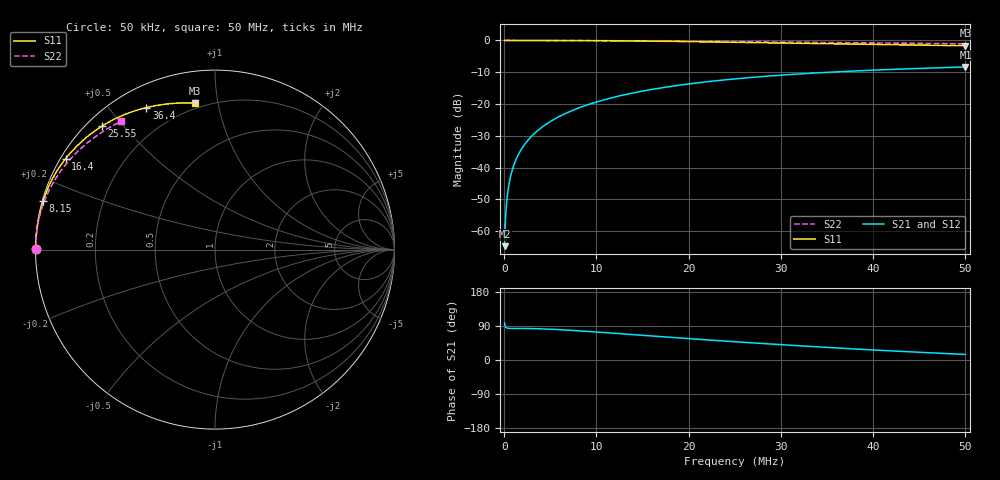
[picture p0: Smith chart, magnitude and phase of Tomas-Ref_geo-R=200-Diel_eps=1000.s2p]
! TOUCHSTONE file generated by CST MICROWAVE STUDIO
! Date and time: Thu Oct 06 06:59:52 2016
! Project name: tomas_icrh_linear_2016-plasma-Rdiel=200.cst
! Header version: 2015
! Port assignment regex: !\s*Touchstone port\s*([0-9]+)\s*=\s*CST MWS port\s*([0-9]+)\s*\(\"(.*)\"\)(\s*mode\s*([0-9]+))?.*
! Touchstone port assignment:
! Touchstone port 1 = CST MWS port 1 ("")
! Touchstone port 2 = CST MWS port 2 ("")
# MHZ S MA R 50
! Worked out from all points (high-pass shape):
!   1000 points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, 50 kHz to 50 MHz, reference 50 ohm
!   highest |S21| = -8.34 dB at 50 MHz (marker M1); lowest = -64.8 dB at 50 kHz (marker M2)
!   |S21| within 3 dB of the highest: 28.05 MHz to end of sweep
!   lowest |S11| = -1.7 dB at 50 MHz (marker M3), VSWR 10.36, Z = 8.42 + j42.8 ohm
!   |S11| at or under -10 dB: nowhere
!   |S22| runs from -1.1 to 0.0 dB; largest |S21 - S12| = 1e-06
!   S11 on the Smith chart (normalised r, x): 50 kHz: -0.00, +0.00; 8.15 MHz: 0.00, +0.14; 16.4 MHz: 0.01, +0.28; 25.55 MHz: 0.04, +0.44; 36.4 MHz: 0.09, +0.62; 50 MHz: 0.17, +0.86
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0.05  1 179.9  0.0005784 97.8  0.0005784 97.8  1 179.9
0.15  1 179.7  0.001599 87.2  0.001599 87.2  1 179.8
0.4  0.9999 179.2  0.00418 83.9  0.00418 83.9  1 179.5
0.5  0.9999 179.0  0.005212 83.6  0.005212 83.6  1 179.4
0.65  0.9999 178.7  0.00676 83.4  0.00676 83.4  0.9999 179.2
0.85  0.9998 178.3  0.008825 83.3  0.008825 83.3  0.9999 179.0
1.15  0.9997 177.8  0.01193 83.3  0.01193 83.3  0.9999 178.6
1.85  0.9994 176.4  0.01921 83.3  0.01921 83.3  0.9997 177.7
2.9  0.9988 174.4  0.03028 83.0  0.03028 83.0  0.9993 176.5
4.25  0.998 171.8  0.04477 82.1  0.04477 82.1  0.9987 174.8
6  0.9968 168.4  0.06383 80.1  0.06383 80.1  0.9976 172.7
8.15  0.9949 164.3  0.08735 76.9  0.08735 76.9  0.9958 170.1
8.4  0.9946 163.8  0.09008 76.5  0.09008 76.5  0.9955 169.8
12  0.9884 156.9  0.1287 70.4  0.1287 70.4  0.9906 165.5
16.4  0.9741 148.6  0.1733 62.7  0.1733 62.7  0.9816 160.3
16.7  0.973 148.0  0.1762 62.1  0.1762 62.1  0.9809 159.9
25.05  0.9353 133.4  0.2486 48.1  0.2486 48.1  0.958 150.5
25.55  0.9329 132.5  0.2525 47.3  0.2525 47.3  0.9565 150.0
33.35  0.8936 120.2  0.3054 35.5  0.3054 35.5  0.9322 141.8
36.4  0.8787 115.8  0.3226 31.3  0.3226 31.3  0.9228 138.8
41.7  0.855 108.5  0.3486 24.4  0.3486 24.4  0.9073 133.7
50  0.8239 97.9  0.3827 14.6  0.3827 14.6  0.8854 126.1
